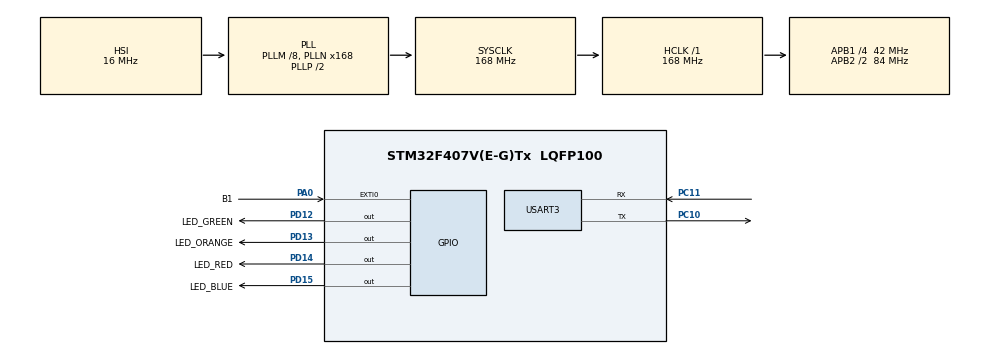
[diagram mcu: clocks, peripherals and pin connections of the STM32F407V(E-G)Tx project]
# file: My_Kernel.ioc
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Dma.MEMTOMEM.0.Direction=DMA_MEMORY_TO_MEMORY
Dma.MEMTOMEM.0.FIFOMode=DMA_FIFOMODE_ENABLE
Dma.MEMTOMEM.0.FIFOThreshold=DMA_FIFO_THRESHOLD_FULL
Dma.MEMTOMEM.0.Instance=DMA2_Stream0
Dma.MEMTOMEM.0.MemBurst=DMA_MBURST_SINGLE
Dma.MEMTOMEM.0.MemDataAlignment=DMA_MDATAALIGN_BYTE
Dma.MEMTOMEM.0.MemInc=DMA_MINC_ENABLE
Dma.MEMTOMEM.0.Mode=DMA_NORMAL
Dma.MEMTOMEM.0.PeriphBurst=DMA_PBURST_SINGLE
Dma.MEMTOMEM.0.PeriphDataAlignment=DMA_PDATAALIGN_BYTE
Dma.MEMTOMEM.0.PeriphInc=DMA_PINC_ENABLE
Dma.MEMTOMEM.0.Priority=DMA_PRIORITY_LOW
Dma.Request0=MEMTOMEM
Mcu.Family=STM32F4
Mcu.Name=STM32F407V(E-G)Tx
Mcu.Package=LQFP100
NVIC.DMA2_Stream0_IRQn=true\:15\:0\:true\:false\:true\:true\:true\:true
NVIC.EXTI0_IRQn=true\:15\:0\:true\:false\:true\:true\:true\:true
NVIC.FLASH_IRQn=true\:15\:0\:true\:false\:true\:true\:true\:true
NVIC.PriorityGroup=NVIC_PRIORITYGROUP_4
NVIC.USART3_IRQn=true\:15\:0\:true\:false\:true\:true\:true\:true
PA0-WKUP.GPIO_Label=B1
PA0-WKUP.Signal=GPXTI0
PA13.GPIO_Label=SWDIO
PA13.Mode=Serial_Wire
PA13.Signal=SYS_JTMS-SWDIO
PA14.GPIO_Label=SWCLK
PA14.Mode=Serial_Wire
PA14.Signal=SYS_JTCK-SWCLK
PB3.GPIO_Label=SWO
PB3.Signal=SYS_JTDO-SWO
PC10.Mode=Asynchronous
PC10.Signal=USART3_TX
PC11.GPIO_PuPd=GPIO_PULLUP
PC11.Mode=Asynchronous
PC11.Signal=USART3_RX
PD12.GPIO_Label=LED_GREEN
PD12.GPIO_PuPd=GPIO_NOPULL
PD12.GPIO_Speed=GPIO_SPEED_FREQ_LOW
PD12.Signal=GPIO_Output
PD13.GPIO_Label=LED_ORANGE
PD13.GPIO_PuPd=GPIO_NOPULL
PD13.GPIO_Speed=GPIO_SPEED_FREQ_LOW
PD13.Signal=GPIO_Output
PD14.GPIO_Label=LED_RED
PD14.GPIO_PuPd=GPIO_NOPULL
PD14.GPIO_Speed=GPIO_SPEED_FREQ_LOW
PD14.Signal=GPIO_Output
PD15.GPIO_Label=LED_BLUE
PD15.GPIO_PuPd=GPIO_NOPULL
PD15.GPIO_Speed=GPIO_SPEED_FREQ_LOW
PD15.Signal=GPIO_Output
ProjectManager.HeapSize=0x400
ProjectManager.StackSize=0x200
ProjectManager.TargetToolchain=STM32CubeIDE
RCC.48MHZClocksFreq_Value=48000000
RCC.AHBFreq_Value=168000000
RCC.APB1CLKDivider=RCC_HCLK_DIV4
RCC.APB1Freq_Value=42000000
RCC.APB1TimFreq_Value=84000000
RCC.APB2CLKDivider=RCC_HCLK_DIV2
RCC.APB2Freq_Value=84000000
RCC.APB2TimFreq_Value=168000000
RCC.CortexFreq_Value=168000000
RCC.HCLKFreq_Value=168000000
RCC.HSE_VALUE=8000000
RCC.HSI_VALUE=16000000
RCC.LSE_VALUE=32768
RCC.PLLM=8
RCC.PLLN=168
RCC.PLLQ=7
RCC.SYSCLKFreq_VALUE=168000000
RCC.SYSCLKSource=RCC_SYSCLKSOURCE_PLLCLK
RCC.VCOOutputFreq_Value=336000000
TIM13.Period=0xFFFF
USART3.VirtualMode=VM_ASYNC
VP_TIM13_VS_ClockSourceINT.Mode=Enable_Timer
VP_TIM13_VS_OPM.Mode=OPM_bit
board=STM32F407G-DISC1

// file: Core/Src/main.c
/* USER CODE BEGIN Header */
/**
 ******************************************************************************
 * @file           : main.c
 * @brief          : Main program body
 ******************************************************************************
 * @attention
 *
 * <h2><center>&copy; Copyright (c) 2022 STMicroelectronics.
 * All rights reserved.</center></h2>
 *
 * This software component is licensed by ST under BSD 3-Clause license,
 * the "License"; You may not use this file except in compliance with the
 * License. You may obtain a copy of the License at:
 *                        opensource.org/licenses/BSD-3-Clause
 *
 ******************************************************************************
 */
/* USER CODE END Header */

#include "main.h"
#include "dma.h"
#include "tim.h"
#include "usart.h"
#include "gpio.h"

/* USER CODE BEGIN Includes */
#include "common.h"
/* USER CODE END Includes */

/* USER CODE BEGIN PV */
os_handle_t uartMutex;
os_handle_t fsMutex;
/* USER CODE END PV */

void SystemClock_Config(void);

/* USER CODE BEGIN 0 */
static os_handle_t blinky_task;
static os_handle_t cli_task;

void* blinky(void){

	while(1){
		HAL_GPIO_TogglePin(LED_ORANGE_GPIO_Port, LED_ORANGE_Pin);
		os_task_sleep(500);
	}

}

/* USER CODE END 0 */

int main(void)
{

  /* MCU Configuration--------------------------------------------------------*/

  /* Reset of all peripherals, Initializes the Flash interface and the Systick. */
  HAL_Init();

  /* Configure the system clock */
  SystemClock_Config();

  /* Initialize all configured peripherals */
  MX_GPIO_Init();
  MX_DMA_Init();
  MX_TIM13_Init();
  MX_USART3_UART_Init();
  /* USER CODE BEGIN 2 */
	ASSERT(os_init("main", 80, OS_DEFAULT_STACK_SIZE, "idle", OS_DEFAULT_STACK_SIZE) == OS_ERR_OK);

	ASSERT(os_task_create(&blinky_task, "blinky", (void*)blinky,	  OS_TASK_MODE_DELETE, 80, OS_DEFAULT_STACK_SIZE, 0) == OS_ERR_OK);
	ASSERT(os_task_create(&cli_task, 	"cli",    (void*)cli_process, OS_TASK_MODE_DELETE, 80, OS_DEFAULT_STACK_SIZE, 0) == OS_ERR_OK);
	ASSERT(os_mutex_create(&uartMutex, "uart mutex") == OS_ERR_OK);
	ASSERT(os_mutex_create(&fsMutex, "fs mutex") == OS_ERR_OK);
	ASSERT(os_scheduler_start() == OS_ERR_OK);

	PRINTLN("Init OS finished");
	os_lfs_init();

  /* USER CODE END 2 */

  /* Infinite loop */
  /* USER CODE BEGIN WHILE */
	os_task_sleep(OS_WAIT_FOREVER);
    /* USER CODE END WHILE */

}

void SystemClock_Config(void)
{
  RCC_OscInitTypeDef RCC_OscInitStruct = {0};
  RCC_ClkInitTypeDef RCC_ClkInitStruct = {0};

  /** Configure the main internal regulator output voltage
  */
  __HAL_RCC_PWR_CLK_ENABLE();
  __HAL_PWR_VOLTAGESCALING_CONFIG(PWR_REGULATOR_VOLTAGE_SCALE1);
  /** Initializes the CPU, AHB and APB busses clocks
  */
  RCC_OscInitStruct.OscillatorType = RCC_OSCILLATORTYPE_HSI;
  RCC_OscInitStruct.HSIState = RCC_HSI_ON;
  RCC_OscInitStruct.HSICalibrationValue = RCC_HSICALIBRATION_DEFAULT;
  RCC_OscInitStruct.PLL.PLLState = RCC_PLL_ON;
  RCC_OscInitStruct.PLL.PLLSource = RCC_PLLSOURCE_HSI;
  RCC_OscInitStruct.PLL.PLLM = 8;
  RCC_OscInitStruct.PLL.PLLN = 168;
  RCC_OscInitStruct.PLL.PLLP = RCC_PLLP_DIV2;
  RCC_OscInitStruct.PLL.PLLQ = 7;
  if (HAL_RCC_OscConfig(&RCC_OscInitStruct) != HAL_OK)
  {
    Error_Handler();
  }
  /** Initializes the CPU, AHB and APB busses clocks
  */
  RCC_ClkInitStruct.ClockType = RCC_CLOCKTYPE_HCLK|RCC_CLOCKTYPE_SYSCLK
                              |RCC_CLOCKTYPE_PCLK1|RCC_CLOCKTYPE_PCLK2;
  RCC_ClkInitStruct.SYSCLKSource = RCC_SYSCLKSOURCE_PLLCLK;
  RCC_ClkInitStruct.AHBCLKDivider = RCC_SYSCLK_DIV1;
  RCC_ClkInitStruct.APB1CLKDivider = RCC_HCLK_DIV4;
  RCC_ClkInitStruct.APB2CLKDivider = RCC_HCLK_DIV2;

  if (HAL_RCC_ClockConfig(&RCC_ClkInitStruct, FLASH_LATENCY_5) != HAL_OK)
  {
    Error_Handler();
  }
}

void Error_Handler(void)
{
}

/************************ (C) COPYRIGHT STMicroelectronics *****END OF FILE****/
